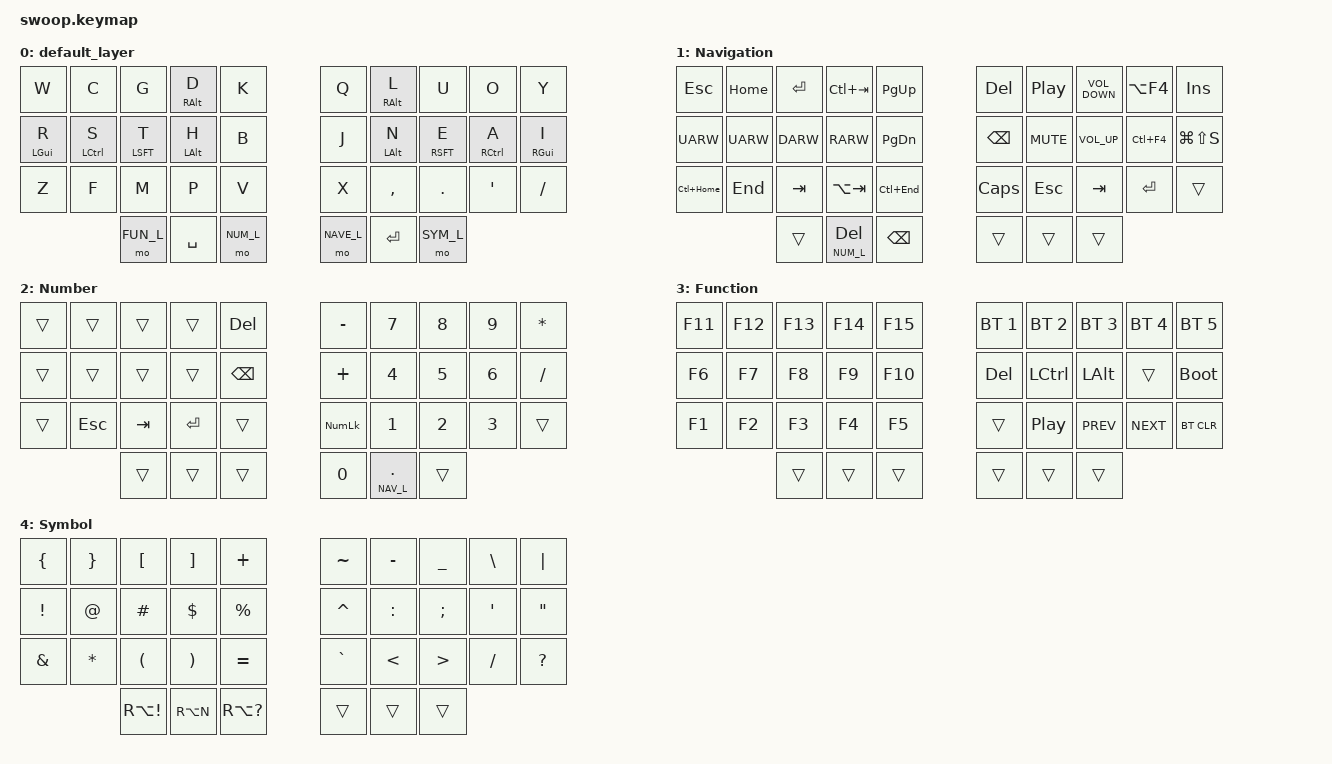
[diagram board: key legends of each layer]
/*
 * Copyright (c) 2020 The ZMK Contributors
 * SPDX-License-Identifier: MIT
 *
 * This is an APTex keymap for the Swoop keyboard.
 * Last edited by James White, July 20, 2022.
 */

#include <behaviors.dtsi>
#include <dt-bindings/zmk/keys.h>
#include <dt-bindings/zmk/bt.h>

&kscan0 {
    debounce-press-ms = <10>;
    debounce-release-ms = <10>;
};

#define DEF_L 0
#define NAV_L 1
#define NUM_L 2
#define FUN_L 3
#define SYM_L 4

/ {
    behaviors {
        lhm: left_homerow_mods {
            compatible = "zmk,behavior-hold-tap";
            label = "LEFT_HOMEROW_MODS";
            #binding-cells = <2>;
            tapping-term-ms = <240>;
            quick-tap-ms = <0>;
            hold-trigger-key-positions = <5 6 7 8 9 15 16 17 18 19 25 26 27 28 29 30 31 32 33 34 35>;
            global-quick-tap;
            flavor = "tap-preferred";
            bindings = <&kp>, <&kp>;
        };
        rhm: right_homerow_mods {
            compatible = "zmk,behavior-hold-tap";
            label = "RIGHT_HOMEROW_MODS";
            #binding-cells = <2>;
            tapping-term-ms = <240>;
            quick-tap-ms = <0>;
            hold-trigger-key-positions = <0 1 2 3 4 10 11 12 13 14 20 21 22 23 24 30 31 32 33 34 35>;
            global-quick-tap;
            flavor = "tap-preferred";
            bindings = <&kp>, <&kp>;
        };
    };
};

#define LHM_LG_R &lhm LGUI R
#define LHM_LC_S &lhm LCTL S
#define LHM_LS_T &lhm LSFT T
#define LHM_LA_H &lhm LALT H
#define LHM_RA_D &lhm RALT D
#define RHM_RA_L &rhm RALT L
#define RHM_LA_N &rhm LALT N
#define RHM_RS_E &rhm RSFT E
#define RHM_RC_A &rhm RCTL A
#define RHM_RG_I &rhm RGUI I
#define LT_NM_DEL &lt NUM_L DEL
#define LT_NV_DOT &lt NAV_L DOT
#define TOP &kp LC(HOME)
#define BOTTOM &kp LC(END)
#define MUTE &kp C_MUTE
#define VOL_UP &kp C_VOLUME_DOWN
#define VOL_DN &kp C_VOLUME_UP
#define MEDIA_PP &kp C_PLAY_PAUSE
#define MEDIA_PV &kp C_PREV
#define MEDIA_NX &kp C_NEXT
#define LCTAB &kp LC(TAB)
#define LALTAB &kp LA(TAB)
#define LCF4 &kp LC(F4)
#define LAF4 &kp LA(F4)
#define SCST &kp LG(LS(S))
#define ENHE &kp RA(N)
#define IEXC &kp RA(EXCL)
#define IQMK &kp RA(QMARK)
#define BT1 &bt BT_SEL 1
#define BT2 &bt BT_SEL 2
#define BT3 &bt BT_SEL 3
#define BT4 &bt BT_SEL 4
#define BT5 &bt BT_SEL 5

/ {
    keymap {
        compatible = "zmk,keymap";

/*
  W       C       G     RA(D)     K            Q     RA(L)     U       O       Y
LG(R)   LC(S)   LS(T)   LA(H)     B            J     LA(N)   RS(E)   RC(A)   RG(I)
  Z       F       M       P       V            X       ,       .       '       /
                 FUN     SPC     NUM          NAV     ENT     SYM
*/

        default_layer {
            bindings = <
                &kp W     &kp C     &kp G     LHM_RA_D  &kp K           &kp Q     RHM_RA_L  &kp U     &kp O     &kp Y
                LHM_LG_R  LHM_LC_S  LHM_LS_T  LHM_LA_H  &kp B           &kp J     RHM_LA_N  RHM_RS_E  RHM_RC_A  RHM_RG_I
                &kp Z     &kp F     &kp M     &kp P     &kp V           &kp X     &kp COMMA &kp DOT   &kp APOS  &kp SLASH
                                    &mo FUN_L &kp SPACE &mo NUM_L       &mo NAVE_L &kp ENTER &mo SYM_L
            >;
        };

/*
 ESC  HOME   ENT  LC(TAB)  PGUP         DEL     PLAY   VOL+   LA(F4)  INS
 <-    UP    DN     ->     PGDN         BSPC    MUTE   VOL-   LC(F4)  SCST
 TOP  END    TAB  LA(TAB)  BOTTOM       CLCK    ESC    TAB    ENT    ___ 
             ___  NUM(DEL) BSPC         ___     ___    ___
*/

        navigation_layer {
            label = "Navigation";
            bindings = <
                &kp ESC   &kp HOME  &kp RET   LCTAB     &kp PG_UP       &kp DEL   &kp C_PP  VOL_UP    LAF4      &kp INS
                &kp UARW  &kp UARW  &kp DARW  &kp RARW  &kp PG_DN       &kp BSPC  MUTE      VOL_DN    LCF4      SCST
                TOP       &kp END   &kp TAB   LALTAB    BOTTOM          &kp CLCK  &kp ESC   &kp TAB   &kp RET   &trans
                                    &trans    LT_NM_DEL &kp BSPC        &trans    &trans    &trans
            >;
        };

/*
 ___    ___    ___    ___    DEL           -       7       8       9       *
 ___    ___    ___    ___    BSPC          +       4       5       6       /
 ___    ESC    TAB    ENT    ___          CNUM     1       2       3      ___
               ___    ___    ___           0     NAV(.)   ___
*/

        number_layer {
            label = "Number";
            bindings = <
                &trans    &trans    &trans    &trans    &kp DEL         &kp MINUS  &kp N7    &kp N8    &kp N9    &kp ASTRK
                &trans    &trans    &trans    &trans    &kp BSPC        &kp PLUS   &kp N4    &kp N5    &kp N6    &kp SLASH
                &trans    &kp ESC   &kp TAB   &kp RET   &trans          &kp KP_NUM &kp N1    &kp N2    &kp N3    &trans
                                    &trans    &trans    &trans          &kp N0     LT_NV_DOT &trans
            >;
        };

/*
F11    F12    F13    F14    F15      BT1    BT2    BT3    BT4    BT5
F6     F7     F8     F9     F10      DEL    CTL    ALT    ___    bootloader
F1     F2     F3     F4     F5       ___    PLAY   <<      >>    BTCLEAR
              ___    ___    ___      ___    ___    ___ 
*/

        function_layer {
            label = "Function";
            bindings = <
                &kp F11   &kp F12   &kp F13   &kp F14   &kp F15         BT1       BT2       BT3       BT4       BT5
                &kp F6    &kp F7    &kp F8    &kp F9    &kp F10         &kp DEL   &kp LCTRL &kp LALT  &trans    &bootloader
                &kp F1    &kp F2    &kp F3    &kp F4    &kp F5          &trans    MEDIA_PP  MEDIA_PV  MEDIA_NX  &bt BT_CLR
                                    &trans    &trans    &trans          &trans    &trans    &trans
            >;
        };

/*
{     }     [     ]     +         `     -     _     \     |
!     @     #     $     %         ^     :     ;     '     "
&     *     (     )     =         ~     <     >     /     ?
            ¡     ñ     ¿        ___   ___   ___ 
*/

        symbol_layer {
            label = "Symbol";
            bindings = <
                &kp LBRC  &kp RBRC  &kp LBKT  &kp RBKT  &kp PLUS        &kp TILDE &kp MINUS &kp UNDER &kp BSLH  &kp PIPE
                &kp EXCL  &kp AT    &kp HASH  &kp DLLR  &kp PRCNT       &kp CARET &kp COLON &kp SEMI  &kp APOS  &kp DQT
                &kp AMPS  &kp STAR  &kp LPAR  &kp RPAR  &kp EQUAL       &kp GRAVE &kp LT    &kp GT    &kp SLASH &kp QMARK
                                    IEXC      ENHE      IQMK            &trans    &trans    &trans
            >;
        };

    };
};

/*
BASE

  W       C       G     RA(D)     K            Q     RA(L)     U       O       Y
LG(R)   LC(S)   LS(T)   LA(H)     B            J     LA(N)   RS(E)   RC(A)   RG(I)
  Z       F       M       P       V            X       ,       .       '       /
                 FUN     SPC     NUM          NAV     ENT     SYM

NAVIGATION

 ESC  HOME   ENT  LC(TAB)  PGUP         DEL     PLAY   VOL+   LA(F4)  INS
 <-    UP    DN     ->     PGDN         BSPC    MUTE   VOL-   LC(F4)  SCST
 TOP  END    TAB  LA(TAB)  BOTTOM       CLCK    ESC    TAB    ENT    ___ 
             ___  NUM(DEL) BSPC         ___     ___    ___

NUMBER

 ___    ___    ___    ___    DEL           -       7       8       9       *
 ___    ___    ___    ___    BSPC          +       4       5       6       /
 ___    ESC    TAB    ENT    ___          CNUM     1       2       3      ___
               ___    ___    ___           0     NAV(.)   ___

FUNCTION

F11    F12    F13    F14    F15      BT1    BT2    BT3    BT4    BT5
F6     F7     F8     F9     F10      DEL    CTL    ALT    ___    bootloader
F1     F2     F3     F4     F5       ___    PLAY   <<      >>    BTCLEAR
              ___    ___    ___      ___    ___    ___ 

SYMBOLS

{     }     [     ]     +         `     -     _     \     |
!     @     #     $     %         ^     :     ;     '     "
&     *     (     )     =         ~     <     >     /     ?
            ¡     ñ     ¿        ___   ___   ___ 
*/
